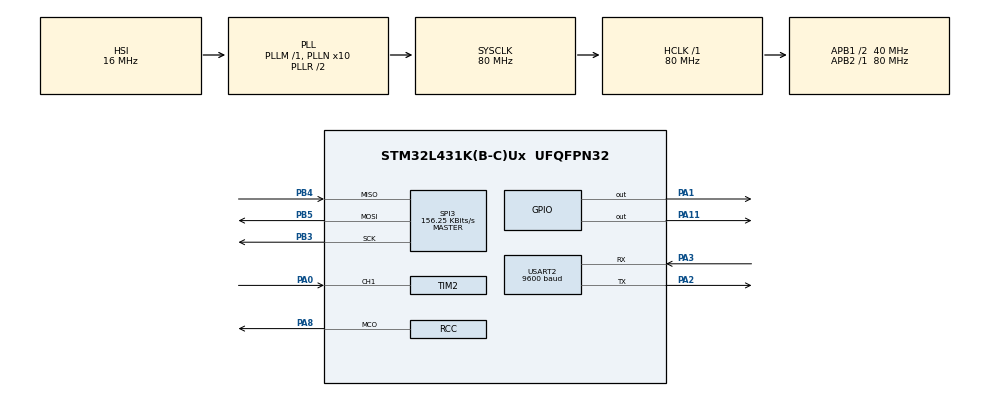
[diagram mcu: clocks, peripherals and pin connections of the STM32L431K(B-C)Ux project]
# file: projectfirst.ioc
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Mcu.Family=STM32L4
Mcu.Name=STM32L431K(B-C)Ux
Mcu.Package=UFQFPN32
NVIC.PriorityGroup=NVIC_PRIORITYGROUP_4
NVIC.TIM1_UP_TIM16_IRQn=true\:0\:0\:false\:false\:true\:true\:true\:true
NVIC.TIM2_IRQn=true\:0\:0\:false\:false\:true\:true\:true\:true
NVIC.USART2_IRQn=true\:0\:0\:false\:false\:true\:true\:true\:true
PA0.Signal=S_TIM2_CH1
PA1.GPIO_ModeDefaultOutputPP=GPIO_MODE_OUTPUT_PP
PA1.GPIO_PuPd=GPIO_NOPULL
PA1.Signal=GPIO_Output
PA11.Signal=GPIO_Output
PA13\ (JTMS-SWDIO).Mode=Serial_Wire
PA13\ (JTMS-SWDIO).Signal=SYS_JTMS-SWDIO
PA14\ (JTCK-SWCLK).Mode=Serial_Wire
PA14\ (JTCK-SWCLK).Signal=SYS_JTCK-SWCLK
PA2.Mode=Asynchronous
PA2.Signal=USART2_TX
PA3.Mode=Asynchronous
PA3.Signal=USART2_RX
PA8.GPIO_Speed=GPIO_SPEED_FREQ_HIGH
PA8.Mode=Clock-out
PA8.Signal=RCC_MCO
PB3\ (JTDO-TRACESWO).Mode=Full_Duplex_Master
PB3\ (JTDO-TRACESWO).Signal=SPI3_SCK
PB4\ (NJTRST).Mode=Full_Duplex_Master
PB4\ (NJTRST).Signal=SPI3_MISO
PB5.Mode=Full_Duplex_Master
PB5.Signal=SPI3_MOSI
PC14-OSC32_IN\ (PC14).Mode=LSE-External-Oscillator
PC14-OSC32_IN\ (PC14).Signal=RCC_OSC32_IN
PC15-OSC32_OUT\ (PC15).Mode=LSE-External-Oscillator
PC15-OSC32_OUT\ (PC15).Signal=RCC_OSC32_OUT
ProjectManager.HeapSize=0x200
ProjectManager.StackSize=0x400
ProjectManager.TargetToolchain=STM32CubeIDE
RCC.ADCFreq_Value=64000000
RCC.AHBFreq_Value=80000000
RCC.APB1CLKDivider=RCC_HCLK_DIV2
RCC.APB1Freq_Value=40000000
RCC.APB1TimFreq_Value=80000000
RCC.APB2Freq_Value=80000000
RCC.APB2TimFreq_Value=80000000
RCC.CortexFreq_Value=80000000
RCC.HCLKFreq_Value=80000000
RCC.HSE_VALUE=8000000
RCC.HSI48_VALUE=48000000
RCC.HSI_VALUE=16000000
RCC.MSI_VALUE=4000000
RCC.PLLN=10
RCC.PLLSourceVirtual=RCC_PLLSOURCE_HSI
RCC.RCC_MCO1Source=RCC_MCO1SOURCE_HSI48
RCC.SYSCLKFreq_VALUE=80000000
RCC.SYSCLKSource=RCC_SYSCLKSOURCE_PLLCLK
RCC.VCOOutputFreq_Value=160000000
SH.S_TIM2_CH1.0=TIM2_CH1,PWM_Input_1
SPI3.BaudRatePrescaler=SPI_BAUDRATEPRESCALER_256
SPI3.CLKPhase=SPI_PHASE_2EDGE
SPI3.CLKPolarity=SPI_POLARITY_LOW
SPI3.CalculateBaudRate=156.25 KBits/s
SPI3.DataSize=SPI_DATASIZE_16BIT
SPI3.Direction=SPI_DIRECTION_2LINES
SPI3.Mode=SPI_MODE_MASTER
SPI3.VirtualType=VM_MASTER
TIM1.Period=49
TIM1.Prescaler=79
TIM2.AutoReloadPreload=TIM_AUTORELOAD_PRELOAD_ENABLE
TIM2.Period=4294967295
TIM2.TIM_MasterOutputTrigger=TIM_TRGO_RESET
USART2.BaudRate=9600
USART2.VirtualMode-Asynchronous=VM_ASYNC
VP_TIM1_VS_ClockSourceINT.Mode=Internal
VP_TIM2_VS_ClockSourceINT.Mode=Internal
board=custom

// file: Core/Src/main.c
/* USER CODE BEGIN Header */
/**
  ******************************************************************************
  * @file           : main.c
  * @brief          : Main program body
  ******************************************************************************
  * @attention
  *
  * <h2><center>&copy; Copyright (c) 2022 STMicroelectronics.
  * All rights reserved.</center></h2>
  *
  * This software component is licensed by ST under BSD 3-Clause license,
  * the "License"; You may not use this file except in compliance with the
  * License. You may obtain a copy of the License at:
  *                        opensource.org/licenses/BSD-3-Clause
  *
  ******************************************************************************
  */
/* USER CODE END Header */
#include "main.h"

/* USER CODE BEGIN Includes */
#include <stdio.h>
#include <string.h>
#include "SEGGER_RTT.h"

#include "mb.h"
#include "mbport.h"
#include "mt_port.h"

/* USER CODE END Includes */

/* USER CODE BEGIN PD */

//---------------test modbus
#define REG_INPUT_START 1000
#define REG_INPUT_NREGS 3

//----------static variables

// begin --------------------- configuration chip select
//#define cs_1
//
//#define cs_2

#define cs_3_High GPIOA->BSRR |= GPIO_BSRR_BS11
#define cs_3_Low GPIOA->BSRR |= GPIO_BSRR_BR11

// end --------------------- configuration chip select
/* USER CODE END PD */

SPI_HandleTypeDef hspi3;

TIM_HandleTypeDef htim1;
TIM_HandleTypeDef htim2;

UART_HandleTypeDef huart2;

/* USER CODE BEGIN PV */
static USHORT usRegInputStart = REG_INPUT_START;
static USHORT usRegInputBuf[REG_INPUT_NREGS] = {11, 0, 0};
//---------------test modbus

/* USER CODE END PV */

void SystemClock_Config(void);
static void MX_GPIO_Init(void);
static void MX_SPI3_Init(void);
static void MX_TIM2_Init(void);
static void MX_USART2_UART_Init(void);
static void MX_TIM1_Init(void);

/* USER CODE BEGIN 0 */
float ICValue = 0;
float Frequency = 0;
float Duty = 0;

uint16_t rdac1[1];
uint16_t rdac2[1];
uint16_t rdac3[1];
uint16_t rdac4[1];

uint16_t rxdata[1];

//Cmd to register digipot
uint16_t cmd_rx[1];
uint16_t nop[1];

//test uart2 completed
//uint8_t rx_buff[2];
//
//void HAL_UART_RxCpltCallback(UART_HandleTypeDef *huart)
//{
//	HAL_GPIO_WritePin(GPIOA, GPIO_PIN_1, GPIO_PIN_SET);
//	HAL_UART_Transmit(&huart2, "OK\r\n", 4, HAL_MAX_DELAY); //(&huart2, rx_buff, 2);
//	HAL_GPIO_WritePin(GPIOA, GPIO_PIN_1, GPIO_PIN_RESET);
//	HAL_UART_Receive_IT(&huart2, rx_buff, sizeof(rx_buff)); // rx 10 simbol
//}

//-------------------modbus

GPIO_TypeDef * DE_Port = GPIOA;

/* USER CODE END 0 */

int main(void)
{

  /* MCU Configuration--------------------------------------------------------*/

  /* Reset of all peripherals, Initializes the Flash interface and the Systick. */
  HAL_Init();

  /* Configure the system clock */
  SystemClock_Config();

  /* Initialize all configured peripherals */
  MX_GPIO_Init();
  MX_SPI3_Init();
  MX_TIM2_Init();
  MX_USART2_UART_Init();
  MX_TIM1_Init();
  /* USER CODE BEGIN 2 */

  //---------------test modbus
  MT_PORT_SetTimerModule(&htim1);
  MT_PORT_SetUartModule(&huart2);

  eMBErrorCode eStatus;
  eStatus = eMBInit(MB_RTU, 0x0A, 0, 9600, MB_PAR_NONE);
  eStatus = eMBEnable();
  if (eStatus != MB_ENOERR)
  {
  //Error handling
  }
  //---------------test modbus

//  HAL_UART_Receive_IT(&huart2, rx_buff, 2); // rx X simbol

  HAL_TIM_IC_Start_IT(&htim2, TIM_CHANNEL_1);   // main channel
  HAL_TIM_IC_Start(&htim2, TIM_CHANNEL_2);   // indirect channel

  rdac1[0] = 0x10FF;  // 0001 0000 0000 0000 loading max value rdac1
  rdac2[0] = 0x11FF;  // 0001 0001 0000 0000 loading max value rdac2
  rdac3[0] = 0x12FF;  // 0001 0010 0000 0000 loading max value rdac3
  rdac4[0] = 0x13FF;  // 0001 0011 0000 0000 loading max value rdac4

  cmd_rx[0] = 0x3000; // Rx rdac - 1
  nop[0] = 0x0000; // __NOP

  	  	  cs_3_Low;
  	  	  HAL_SPI_Transmit(&hspi3,(uint8_t*)rdac1, 1, HAL_MAX_DELAY); // rdac1
  	  	  cs_3_High;

  	  	  cs_3_Low;
  		  HAL_SPI_Transmit(&hspi3,(uint8_t*)rdac2, 1, HAL_MAX_DELAY); // rdac2
  		  cs_3_High;

  		  cs_3_Low;
  		  HAL_SPI_Transmit(&hspi3,(uint8_t*)rdac3, 1, HAL_MAX_DELAY); // rdac3
  		  cs_3_High;

  		  cs_3_Low;
  		  HAL_SPI_Transmit(&hspi3,(uint8_t*)rdac4, 1, HAL_MAX_DELAY); // rdac4
  		  cs_3_High;

  /* USER CODE END 2 */

  /* Infinite loop */
  /* USER CODE BEGIN WHILE */
  while (1)
  {

// Components::ConsoleRtt;

//	  HAL_GPIO_WritePin(GPIOA, GPIO_PIN_1, GPIO_PIN_SET);
	  //SEGGER_RTT_printf(0, "SEGGER RTT Sample. Uptime: %.6dms.\r\n",890912);
//	  HAL_Delay(500);
//	  HAL_GPIO_WritePin(GPIOA, GPIO_PIN_1, GPIO_PIN_RESET);
//	  HAL_Delay(500);
    /* USER CODE END WHILE */

    /* USER CODE BEGIN 3 */

//	  	  cs_3_Low;
//		  HAL_SPI_Transmit(&hspi3,(uint8_t*)cmd_rx, 1, 100); // rdac4
//		  cs_3_High;

		  //HAL_Delay(100);

//		  cs_3_Low;
//		  HAL_SPI_Transmit(&hspi3,(uint8_t*)nop, 1, 100);
//		  cs_3_High;
//
//	  	  cs_3_Low;
//	  	  HAL_SPI_Receive(&hspi3, (uint8_t*)rxdata, 1, 100);
//	  	  cs_3_High;
//	  cs_3_Low;
//		  HAL_SPI_TransmitReceive(&hspi3, (uint8_t*)cmd_rx, (uint8_t*)rxdata, 3, HAL_MAX_DELAY);
//		  cs_3_High;
//
//	  	  cs_3_Low;
//		  HAL_SPI_Transmit(&hspi3,(uint8_t*)nop, 1, HAL_MAX_DELAY);
//		  cs_3_High;

	  	  //HAL_Delay(500);
		  //HAL_SPI_Transmit(&hspi3,(uint8_t*)rdac1, 1, 100); // Передача данных по SPI
		  //HAL_SPI_Receive(&hspi3, (uint8_t*)read_data, 1, 100);

//	  	    HAL_SPI_Receive(&hspi3, read_data, 1, 100);
	  		//SEGGER_RTT_printf(0, (uint8_t*)rxdata, sizeof(rxdata));

		  //-------------------test modbus
		  eMBPoll();
		  usRegInputBuf[REG_INPUT_NREGS - 2] =  HAL_GetTick() / 1000;
		  usRegInputBuf[REG_INPUT_NREGS - 1] =  HAL_GetTick();
		  //-------------------test modbus
  }
  /* USER CODE END 3 */
}

void SystemClock_Config(void)
{
  RCC_OscInitTypeDef RCC_OscInitStruct = {0};
  RCC_ClkInitTypeDef RCC_ClkInitStruct = {0};

  /** Configure the main internal regulator output voltage
  */
  if (HAL_PWREx_ControlVoltageScaling(PWR_REGULATOR_VOLTAGE_SCALE1) != HAL_OK)
  {
    Error_Handler();
  }

  /** Initializes the RCC Oscillators according to the specified parameters
  * in the RCC_OscInitTypeDef structure.
  */
  RCC_OscInitStruct.OscillatorType = RCC_OSCILLATORTYPE_HSI48|RCC_OSCILLATORTYPE_HSI;
  RCC_OscInitStruct.HSIState = RCC_HSI_ON;
  RCC_OscInitStruct.HSI48State = RCC_HSI48_ON;
  RCC_OscInitStruct.HSICalibrationValue = RCC_HSICALIBRATION_DEFAULT;
  RCC_OscInitStruct.PLL.PLLState = RCC_PLL_ON;
  RCC_OscInitStruct.PLL.PLLSource = RCC_PLLSOURCE_HSI;
  RCC_OscInitStruct.PLL.PLLM = 1;
  RCC_OscInitStruct.PLL.PLLN = 10;
  RCC_OscInitStruct.PLL.PLLP = RCC_PLLP_DIV7;
  RCC_OscInitStruct.PLL.PLLQ = RCC_PLLQ_DIV2;
  RCC_OscInitStruct.PLL.PLLR = RCC_PLLR_DIV2;
  if (HAL_RCC_OscConfig(&RCC_OscInitStruct) != HAL_OK)
  {
    Error_Handler();
  }

  /** Initializes the CPU, AHB and APB buses clocks
  */
  RCC_ClkInitStruct.ClockType = RCC_CLOCKTYPE_HCLK|RCC_CLOCKTYPE_SYSCLK
                              |RCC_CLOCKTYPE_PCLK1|RCC_CLOCKTYPE_PCLK2;
  RCC_ClkInitStruct.SYSCLKSource = RCC_SYSCLKSOURCE_PLLCLK;
  RCC_ClkInitStruct.AHBCLKDivider = RCC_SYSCLK_DIV1;
  RCC_ClkInitStruct.APB1CLKDivider = RCC_HCLK_DIV2;
  RCC_ClkInitStruct.APB2CLKDivider = RCC_HCLK_DIV1;

  if (HAL_RCC_ClockConfig(&RCC_ClkInitStruct, FLASH_LATENCY_4) != HAL_OK)
  {
    Error_Handler();
  }
  HAL_RCC_MCOConfig(RCC_MCO1, RCC_MCO1SOURCE_HSI48, RCC_MCODIV_1);
}

static void MX_SPI3_Init(void)
{

  /* SPI3 parameter configuration*/
  hspi3.Instance = SPI3;
  hspi3.Init.Mode = SPI_MODE_MASTER;
  hspi3.Init.Direction = SPI_DIRECTION_2LINES;
  hspi3.Init.DataSize = SPI_DATASIZE_16BIT;
  hspi3.Init.CLKPolarity = SPI_POLARITY_LOW;
  hspi3.Init.CLKPhase = SPI_PHASE_2EDGE;
  hspi3.Init.NSS = SPI_NSS_SOFT;
  hspi3.Init.BaudRatePrescaler = SPI_BAUDRATEPRESCALER_256;
  hspi3.Init.FirstBit = SPI_FIRSTBIT_MSB;
  hspi3.Init.TIMode = SPI_TIMODE_DISABLE;
  hspi3.Init.CRCCalculation = SPI_CRCCALCULATION_DISABLE;
  hspi3.Init.CRCPolynomial = 7;
  hspi3.Init.CRCLength = SPI_CRC_LENGTH_DATASIZE;
  hspi3.Init.NSSPMode = SPI_NSS_PULSE_DISABLE;
  if (HAL_SPI_Init(&hspi3) != HAL_OK)
  {
    Error_Handler();
  }

}

static void MX_TIM1_Init(void)
{

  TIM_ClockConfigTypeDef sClockSourceConfig = {0};
  TIM_MasterConfigTypeDef sMasterConfig = {0};

  htim1.Instance = TIM1;
  htim1.Init.Prescaler = 79;
  htim1.Init.CounterMode = TIM_COUNTERMODE_UP;
  htim1.Init.Period = 49;
  htim1.Init.ClockDivision = TIM_CLOCKDIVISION_DIV1;
  htim1.Init.RepetitionCounter = 0;
  htim1.Init.AutoReloadPreload = TIM_AUTORELOAD_PRELOAD_DISABLE;
  if (HAL_TIM_Base_Init(&htim1) != HAL_OK)
  {
    Error_Handler();
  }
  sClockSourceConfig.ClockSource = TIM_CLOCKSOURCE_INTERNAL;
  if (HAL_TIM_ConfigClockSource(&htim1, &sClockSourceConfig) != HAL_OK)
  {
    Error_Handler();
  }
  sMasterConfig.MasterOutputTrigger = TIM_TRGO_RESET;
  sMasterConfig.MasterOutputTrigger2 = TIM_TRGO2_RESET;
  sMasterConfig.MasterSlaveMode = TIM_MASTERSLAVEMODE_DISABLE;
  if (HAL_TIMEx_MasterConfigSynchronization(&htim1, &sMasterConfig) != HAL_OK)
  {
    Error_Handler();
  }

}

static void MX_TIM2_Init(void)
{

  TIM_ClockConfigTypeDef sClockSourceConfig = {0};
  TIM_SlaveConfigTypeDef sSlaveConfig = {0};
  TIM_IC_InitTypeDef sConfigIC = {0};
  TIM_MasterConfigTypeDef sMasterConfig = {0};

  htim2.Instance = TIM2;
  htim2.Init.Prescaler = 0;
  htim2.Init.CounterMode = TIM_COUNTERMODE_UP;
  htim2.Init.Period = 4294967295;
  htim2.Init.ClockDivision = TIM_CLOCKDIVISION_DIV1;
  htim2.Init.AutoReloadPreload = TIM_AUTORELOAD_PRELOAD_ENABLE;
  if (HAL_TIM_Base_Init(&htim2) != HAL_OK)
  {
    Error_Handler();
  }
  sClockSourceConfig.ClockSource = TIM_CLOCKSOURCE_INTERNAL;
  if (HAL_TIM_ConfigClockSource(&htim2, &sClockSourceConfig) != HAL_OK)
  {
    Error_Handler();
  }
  if (HAL_TIM_IC_Init(&htim2) != HAL_OK)
  {
    Error_Handler();
  }
  sSlaveConfig.SlaveMode = TIM_SLAVEMODE_RESET;
  sSlaveConfig.InputTrigger = TIM_TS_TI1FP1;
  sSlaveConfig.TriggerPolarity = TIM_INPUTCHANNELPOLARITY_RISING;
  sSlaveConfig.TriggerPrescaler = TIM_ICPSC_DIV1;
  sSlaveConfig.TriggerFilter = 0;
  if (HAL_TIM_SlaveConfigSynchro(&htim2, &sSlaveConfig) != HAL_OK)
  {
    Error_Handler();
  }
  sConfigIC.ICPolarity = TIM_INPUTCHANNELPOLARITY_RISING;
  sConfigIC.ICSelection = TIM_ICSELECTION_DIRECTTI;
  sConfigIC.ICPrescaler = TIM_ICPSC_DIV1;
  sConfigIC.ICFilter = 0;
  if (HAL_TIM_IC_ConfigChannel(&htim2, &sConfigIC, TIM_CHANNEL_1) != HAL_OK)
  {
    Error_Handler();
  }
  sConfigIC.ICPolarity = TIM_INPUTCHANNELPOLARITY_FALLING;
  sConfigIC.ICSelection = TIM_ICSELECTION_INDIRECTTI;
  if (HAL_TIM_IC_ConfigChannel(&htim2, &sConfigIC, TIM_CHANNEL_2) != HAL_OK)
  {
    Error_Handler();
  }
  sMasterConfig.MasterOutputTrigger = TIM_TRGO_RESET;
  sMasterConfig.MasterSlaveMode = TIM_MASTERSLAVEMODE_DISABLE;
  if (HAL_TIMEx_MasterConfigSynchronization(&htim2, &sMasterConfig) != HAL_OK)
  {
    Error_Handler();
  }

}

static void MX_USART2_UART_Init(void)
{

  huart2.Instance = USART2;
  huart2.Init.BaudRate = 9600;
  huart2.Init.WordLength = UART_WORDLENGTH_8B;
  huart2.Init.StopBits = UART_STOPBITS_1;
  huart2.Init.Parity = UART_PARITY_NONE;
  huart2.Init.Mode = UART_MODE_TX_RX;
  huart2.Init.HwFlowCtl = UART_HWCONTROL_NONE;
  huart2.Init.OverSampling = UART_OVERSAMPLING_16;
  huart2.Init.OneBitSampling = UART_ONE_BIT_SAMPLE_DISABLE;
  huart2.AdvancedInit.AdvFeatureInit = UART_ADVFEATURE_NO_INIT;
  if (HAL_UART_Init(&huart2) != HAL_OK)
  {
    Error_Handler();
  }

}

static void MX_GPIO_Init(void)
{
  GPIO_InitTypeDef GPIO_InitStruct = {0};

  /* GPIO Ports Clock Enable */
  __HAL_RCC_GPIOC_CLK_ENABLE();
  __HAL_RCC_GPIOA_CLK_ENABLE();
  __HAL_RCC_GPIOB_CLK_ENABLE();

  /*Configure GPIO pin Output Level */
  HAL_GPIO_WritePin(GPIOA, GPIO_PIN_1|GPIO_PIN_11, GPIO_PIN_RESET);

  /*Configure GPIO pins : PA1 PA11 */
  GPIO_InitStruct.Pin = GPIO_PIN_1|GPIO_PIN_11;
  GPIO_InitStruct.Mode = GPIO_MODE_OUTPUT_PP;
  GPIO_InitStruct.Pull = GPIO_NOPULL;
  GPIO_InitStruct.Speed = GPIO_SPEED_FREQ_LOW;
  HAL_GPIO_Init(GPIOA, &GPIO_InitStruct);

  /*Configure GPIO pin : PA8 */
  GPIO_InitStruct.Pin = GPIO_PIN_8;
  GPIO_InitStruct.Mode = GPIO_MODE_AF_PP;
  GPIO_InitStruct.Pull = GPIO_NOPULL;
  GPIO_InitStruct.Speed = GPIO_SPEED_FREQ_HIGH;
  GPIO_InitStruct.Alternate = GPIO_AF0_MCO;
  HAL_GPIO_Init(GPIOA, &GPIO_InitStruct);

}

/* USER CODE BEGIN 4 */

eMBErrorCode eMBRegInputCB(UCHAR * pucRegBuffer, USHORT usAddress, USHORT usNRegs)
{
  eMBErrorCode eStatus = MB_ENOERR;
  int iRegIndex;
  if ((usAddress >= REG_INPUT_START) &&
      (usAddress + usNRegs <= REG_INPUT_START + REG_INPUT_NREGS))
  {
    iRegIndex = (int)(usAddress - usRegInputStart);
    while(usNRegs > 0)
    {
        *pucRegBuffer++ = (unsigned char)(usRegInputBuf[iRegIndex] >> 8);
        *pucRegBuffer++ = (unsigned char)(usRegInputBuf[iRegIndex] & 0xFF);
        iRegIndex++;
        usNRegs--;
    }
  }
  else
  {
    eStatus = MB_ENOREG;
  }
  return eStatus;
}

/*----------------------------------------------------------------------------*/
eMBErrorCode eMBRegHoldingCB(UCHAR * pucRegBuffer, USHORT usAddress, USHORT usNRegs,
                             eMBRegisterMode eMode)
{
  return MB_ENOREG;
}
/*----------------------------------------------------------------------------*/
eMBErrorCode eMBRegCoilsCB(UCHAR * pucRegBuffer, USHORT usAddress, USHORT usNCoils,
                           eMBRegisterMode eMode)
{
  return MB_ENOREG;
}
/*----------------------------------------------------------------------------*/
eMBErrorCode eMBRegDiscreteCB(UCHAR * pucRegBuffer, USHORT usAddress, USHORT usNDiscrete)
{
  return MB_ENOREG;
}

//void HAL_SPI_TxCpltCallback(SPI_HandleTypeDef *hspi)
//{
//  if (hspi->Instance == SPI1)
//  {
//	uint16_t read_data[10] = {0,};
//    HAL_SPI_Receive(&hspi3, read_data, 1, 100);
//	SEGGER_RTT_printf(0, read_data, sizeof(read_data));
//  }
//}

void HAL_TIM_IC_CaptureCallback(TIM_HandleTypeDef *htim)
{
	if (htim->Channel == HAL_TIM_ACTIVE_CHANNEL_1)  // If the interrupt is triggered by channel 1
	{
		// Read the IC value
		ICValue = HAL_TIM_ReadCapturedValue(htim, TIM_CHANNEL_1);

		if (ICValue != 0)
		{
			// calculate the Duty Cycle
			Duty = (HAL_TIM_ReadCapturedValue(htim, TIM_CHANNEL_2) *100)/ICValue;

			Frequency = 80000000/ICValue;

			float gu8_MSG[96] = {0,};
			sprintf(gu8_MSG, "Frequency = %.3f Hz", Frequency);
			SEGGER_RTT_printf(0, gu8_MSG, sizeof(gu8_MSG));
			SEGGER_RTT_printf(0, "\n--------------------\n");
		}
	}
}
/* USER CODE END 4 */

void Error_Handler(void)
{
  __disable_irq();
  while (1)
  {
  }
}
